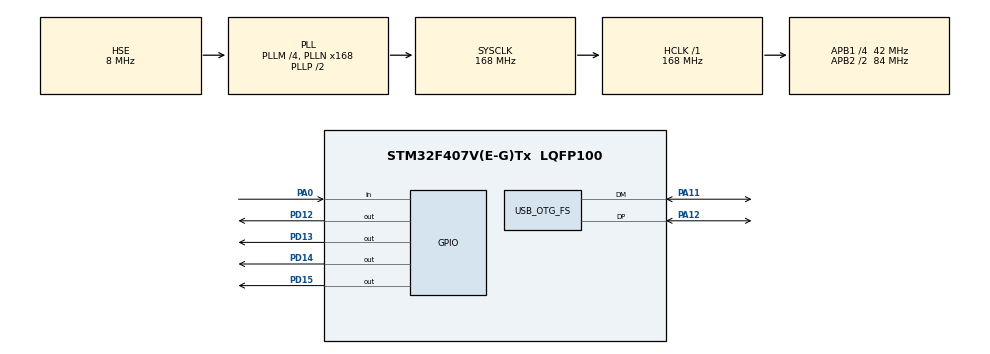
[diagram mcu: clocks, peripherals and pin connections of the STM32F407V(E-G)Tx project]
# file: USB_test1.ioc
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FREERTOS.Tasks01=defaultTask,24,128,StartDefaultTask,Default,NULL,Dynamic,NULL,NULL;LEDTask,8,128,StartLEDTask,Default,NULL,Dynamic,NULL,NULL
Mcu.Family=STM32F4
Mcu.Name=STM32F407V(E-G)Tx
Mcu.Package=LQFP100
NVIC.OTG_FS_IRQn=true\:5\:0\:false\:false\:true\:true\:false\:true\:true
NVIC.PriorityGroup=NVIC_PRIORITYGROUP_4
PA0-WKUP.Signal=GPIO_Input
PA11.Mode=Device_Only
PA11.Signal=USB_OTG_FS_DM
PA12.Mode=Device_Only
PA12.Signal=USB_OTG_FS_DP
PA13.Mode=Serial_Wire
PA13.Signal=SYS_JTMS-SWDIO
PA14.Mode=Serial_Wire
PA14.Signal=SYS_JTCK-SWCLK
PD12.Signal=GPIO_Output
PD13.Signal=GPIO_Output
PD14.Signal=GPIO_Output
PD15.Signal=GPIO_Output
PH0-OSC_IN.Mode=HSE-External-Oscillator
PH0-OSC_IN.Signal=RCC_OSC_IN
PH1-OSC_OUT.Mode=HSE-External-Oscillator
PH1-OSC_OUT.Signal=RCC_OSC_OUT
ProjectManager.HeapSize=0x200
ProjectManager.StackSize=0x400
ProjectManager.TargetToolchain=STM32CubeIDE
RCC.48MHZClocksFreq_Value=48000000
RCC.AHBFreq_Value=168000000
RCC.APB1CLKDivider=RCC_HCLK_DIV4
RCC.APB1Freq_Value=42000000
RCC.APB1TimFreq_Value=84000000
RCC.APB2CLKDivider=RCC_HCLK_DIV2
RCC.APB2Freq_Value=84000000
RCC.APB2TimFreq_Value=168000000
RCC.CortexFreq_Value=168000000
RCC.HCLKFreq_Value=168000000
RCC.HSE_VALUE=8000000
RCC.HSI_VALUE=16000000
RCC.LSE_VALUE=32768
RCC.PLLM=4
RCC.PLLN=168
RCC.PLLQ=7
RCC.SYSCLKFreq_VALUE=168000000
RCC.SYSCLKSource=RCC_SYSCLKSOURCE_PLLCLK
RCC.VCOOutputFreq_Value=336000000
USB_DEVICE.CLASS_NAME_FS=CUSTOM_HID
USB_DEVICE.VirtualMode-CUSTOM_HID_FS=CustomHid
USB_DEVICE.VirtualModeFS=Custom_Hid_FS
USB_OTG_FS.VirtualMode=Device_Only
VP_FREERTOS_VS_CMSIS_V2.Mode=CMSIS_V2
VP_USB_DEVICE_VS_USB_DEVICE_CUSTOM_HID_FS.Mode=CUSTOM_HID_FS
board=custom

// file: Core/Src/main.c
/* USER CODE BEGIN Header */
/**
  ******************************************************************************
  * @file           : main.c
  * @brief          : Main program body
  ******************************************************************************
  * @attention
  *
  * Copyright (c) 2022 STMicroelectronics.
  * All rights reserved.
  *
  * This software is licensed under terms that can be found in the LICENSE file
  * in the root directory of this software component.
  * If no LICENSE file comes with this software, it is provided AS-IS.
  *
  ******************************************************************************
  */
/* USER CODE END Header */
#include "main.h"
#include "cmsis_os.h"
#include "usb_device.h"

/* USER CODE BEGIN Includes */
#include "usbd_custom_hid_if.h"
/* USER CODE END Includes */

/* Definitions for defaultTask */
osThreadId_t defaultTaskHandle;
const osThreadAttr_t defaultTask_attributes = {
  .name = "defaultTask",
  .stack_size = 128 * 4,
  .priority = (osPriority_t) osPriorityNormal,
};
/* Definitions for LEDTask */
osThreadId_t LEDTaskHandle;
const osThreadAttr_t LEDTask_attributes = {
  .name = "LEDTask",
  .stack_size = 128 * 4,
  .priority = (osPriority_t) osPriorityLow,
};

void SystemClock_Config(void);
static void MX_GPIO_Init(void);
void StartDefaultTask(void *argument);
void StartLEDTask(void *argument);

/* USER CODE BEGIN 0 */
uint8_t USB_RX_Buffer[65];
uint8_t USB_TX_Buffer[65];
int USB_packet_enable=0;
extern USBD_HandleTypeDef hUsbDeviceFS;   //указатель на дескриптор
/* USER CODE END 0 */

int main(void)
{

  /* MCU Configuration--------------------------------------------------------*/

  /* Reset of all peripherals, Initializes the Flash interface and the Systick. */
  HAL_Init();

  /* Configure the system clock */
  SystemClock_Config();

  /* Initialize all configured peripherals */
  MX_GPIO_Init();
  /* USER CODE BEGIN 2 */

	//=============================================================================
	//Fill TX buffer
	USB_TX_Buffer[0]=0x01;  //ID report (=0x01 for input)
	USB_TX_Buffer[1]=0x48;  //'H'
	USB_TX_Buffer[2]=0x65;  //'e'
	USB_TX_Buffer[3]=0x6c;  //'l'
	USB_TX_Buffer[4]=0x6c;  //'l'
	USB_TX_Buffer[5]=0x6f;  //'o'
	USB_TX_Buffer[6]=0x21;  //'!'
	USB_TX_Buffer[7]=0x00;  // null-terminate string
	//=============================================================================

  /* USER CODE END 2 */

  /* Init scheduler */
  osKernelInitialize();

  /* Create the thread(s) */
  /* creation of defaultTask */
  defaultTaskHandle = osThreadNew(StartDefaultTask, NULL, &defaultTask_attributes);

  /* creation of LEDTask */
  LEDTaskHandle = osThreadNew(StartLEDTask, NULL, &LEDTask_attributes);

  /* Start scheduler */
  osKernelStart();

  /* We should never get here as control is now taken by the scheduler */
  /* Infinite loop */
  while (1)
  {

    /* USER CODE BEGIN 3 */

	   //=============================================================================
    //Code for button (transmit "Hello!" to USB)
//    if((GPIOA->IDR & GPIO_PIN_0)>0)

  }
  /* USER CODE END 3 */
}

void SystemClock_Config(void)
{
  RCC_OscInitTypeDef RCC_OscInitStruct = {0};
  RCC_ClkInitTypeDef RCC_ClkInitStruct = {0};

  /** Configure the main internal regulator output voltage
  */
  __HAL_RCC_PWR_CLK_ENABLE();
  __HAL_PWR_VOLTAGESCALING_CONFIG(PWR_REGULATOR_VOLTAGE_SCALE1);

  /** Initializes the RCC Oscillators according to the specified parameters
  * in the RCC_OscInitTypeDef structure.
  */
  RCC_OscInitStruct.OscillatorType = RCC_OSCILLATORTYPE_HSE;
  RCC_OscInitStruct.HSEState = RCC_HSE_ON;
  RCC_OscInitStruct.PLL.PLLState = RCC_PLL_ON;
  RCC_OscInitStruct.PLL.PLLSource = RCC_PLLSOURCE_HSE;
  RCC_OscInitStruct.PLL.PLLM = 4;
  RCC_OscInitStruct.PLL.PLLN = 168;
  RCC_OscInitStruct.PLL.PLLP = RCC_PLLP_DIV2;
  RCC_OscInitStruct.PLL.PLLQ = 7;
  if (HAL_RCC_OscConfig(&RCC_OscInitStruct) != HAL_OK)
  {
    Error_Handler();
  }

  /** Initializes the CPU, AHB and APB buses clocks
  */
  RCC_ClkInitStruct.ClockType = RCC_CLOCKTYPE_HCLK|RCC_CLOCKTYPE_SYSCLK
                              |RCC_CLOCKTYPE_PCLK1|RCC_CLOCKTYPE_PCLK2;
  RCC_ClkInitStruct.SYSCLKSource = RCC_SYSCLKSOURCE_PLLCLK;
  RCC_ClkInitStruct.AHBCLKDivider = RCC_SYSCLK_DIV1;
  RCC_ClkInitStruct.APB1CLKDivider = RCC_HCLK_DIV4;
  RCC_ClkInitStruct.APB2CLKDivider = RCC_HCLK_DIV2;

  if (HAL_RCC_ClockConfig(&RCC_ClkInitStruct, FLASH_LATENCY_5) != HAL_OK)
  {
    Error_Handler();
  }
}

static void MX_GPIO_Init(void)
{
  GPIO_InitTypeDef GPIO_InitStruct = {0};

  /* GPIO Ports Clock Enable */
  __HAL_RCC_GPIOH_CLK_ENABLE();
  __HAL_RCC_GPIOA_CLK_ENABLE();
  __HAL_RCC_GPIOD_CLK_ENABLE();

  /*Configure GPIO pin Output Level */
  HAL_GPIO_WritePin(GPIOD, GPIO_PIN_12|GPIO_PIN_13|GPIO_PIN_14|GPIO_PIN_15, GPIO_PIN_RESET);

  /*Configure GPIO pin : PA0 */
  GPIO_InitStruct.Pin = GPIO_PIN_0;
  GPIO_InitStruct.Mode = GPIO_MODE_INPUT;
  GPIO_InitStruct.Pull = GPIO_NOPULL;
  HAL_GPIO_Init(GPIOA, &GPIO_InitStruct);

  /*Configure GPIO pins : PD12 PD13 PD14 PD15 */
  GPIO_InitStruct.Pin = GPIO_PIN_12|GPIO_PIN_13|GPIO_PIN_14|GPIO_PIN_15;
  GPIO_InitStruct.Mode = GPIO_MODE_OUTPUT_PP;
  GPIO_InitStruct.Pull = GPIO_NOPULL;
  GPIO_InitStruct.Speed = GPIO_SPEED_FREQ_LOW;
  HAL_GPIO_Init(GPIOD, &GPIO_InitStruct);

}

void StartDefaultTask(void *argument)
{
  /* init code for USB_DEVICE */
  MX_USB_DEVICE_Init();
  for(;;)
  {
    osDelay(1);
  }
}

void StartLEDTask(void *argument)
{
  /* USER CODE BEGIN StartLEDTask */
  /* Infinite loop */
  for(;;)
  {
	  if(USB_packet_enable==1)
	  {
		  if(USB_RX_Buffer[1]==0x11){
			  HAL_GPIO_WritePin(GPIOD, GPIO_PIN_12, GPIO_PIN_SET);
		  }
		  if(USB_RX_Buffer[1]==0x22){
			  HAL_GPIO_WritePin(GPIOD, GPIO_PIN_13, GPIO_PIN_SET);
		  }
		  if(USB_RX_Buffer[1]==0x33){
			  HAL_GPIO_WritePin(GPIOD, GPIO_PIN_14, GPIO_PIN_SET);
		  }
		  if(USB_RX_Buffer[1]==0x44){
			  HAL_GPIO_WritePin(GPIOD, GPIO_PIN_15, GPIO_PIN_SET);
		  }

		  if(USB_RX_Buffer[1]==0x01){
			  HAL_GPIO_WritePin(GPIOD, GPIO_PIN_12, GPIO_PIN_RESET);
		  }
		  if(USB_RX_Buffer[1]==0x02){
			  HAL_GPIO_WritePin(GPIOD, GPIO_PIN_13, GPIO_PIN_RESET);
		  }
		  if(USB_RX_Buffer[1]==0x03){
			  HAL_GPIO_WritePin(GPIOD, GPIO_PIN_14, GPIO_PIN_RESET);
		  }
		  if(USB_RX_Buffer[1]==0x04){
			  HAL_GPIO_WritePin(GPIOD, GPIO_PIN_15, GPIO_PIN_RESET);
		  }

		  USB_packet_enable=0;

	  }

	  if((GPIOA->IDR & GPIO_PIN_0)>0)
			   	 {
						 HAL_Delay(10);
						 //HAL_GPIO_WritePin(GPIOD,GPIO_PIN_15,GPIO_PIN_SET);
						 USBD_CUSTOM_HID_SendReport(&hUsbDeviceFS,USB_TX_Buffer,65);
				   }
				 //======
    osDelay(5);
  }
  /* USER CODE END StartLEDTask */
}

void Error_Handler(void)
{
  __disable_irq();
  while (1)
  {
  }
}
